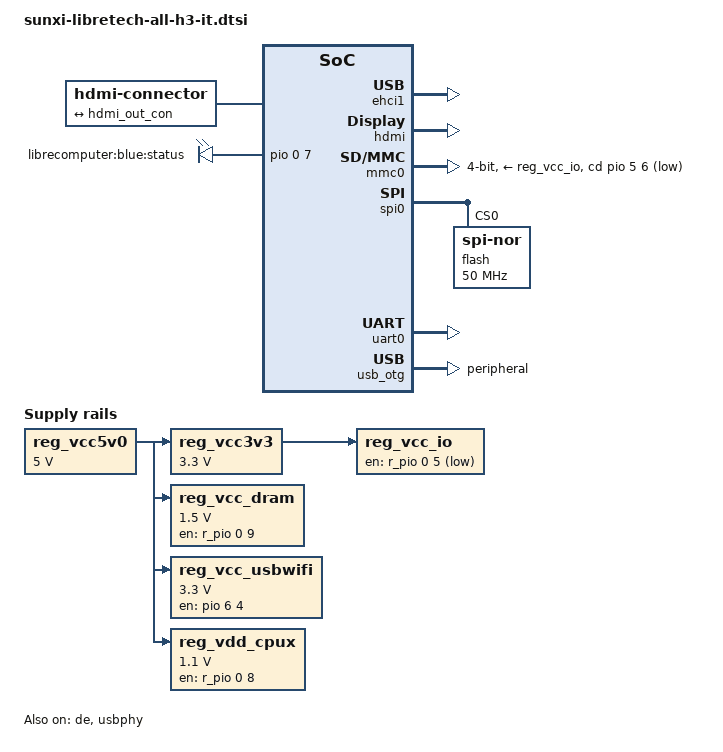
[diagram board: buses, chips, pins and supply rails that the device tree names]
// SPDX-License-Identifier: (GPL-2.0+ OR MIT)
// Copyright (C) 2019 Chen-Yu Tsai <wens@csie.org>

#include <dt-bindings/gpio/gpio.h>
#include <dt-bindings/input/input.h>

/ {
	aliases {
		serial0 = &uart0;
		spi0 = &spi0;
	};

	chosen {
		stdout-path = "serial0:115200n8";
	};

	connector {
		compatible = "hdmi-connector";
		type = "d";

		port {
			hdmi_con_in: endpoint {
				remote-endpoint = <&hdmi_out_con>;
			};
		};
	};

	leds {
		compatible = "gpio-leds";

		status_led {
			label = "librecomputer:blue:status";
			gpios = <&pio 0 7 GPIO_ACTIVE_HIGH>; /* PA7 */
		};
	};

	reg_vcc3v3: vcc3v3 {
		compatible = "regulator-fixed";
		regulator-name = "vcc3v3";
		regulator-min-microvolt = <3300000>;
		regulator-max-microvolt = <3300000>;
		regulator-always-on;
		regulator-boot-on;
		vin-supply = <&reg_vcc5v0>;
	};

	/* This represents the board's 5V input */
	reg_vcc5v0: vcc5v0 {
		compatible = "regulator-fixed";
		regulator-name = "vcc5v0";
		regulator-min-microvolt = <5000000>;
		regulator-max-microvolt = <5000000>;
		regulator-always-on;
		regulator-boot-on;
	};

	reg_vcc_dram: vcc-dram {
		compatible = "regulator-fixed";
		regulator-name = "vcc-dram";
		regulator-min-microvolt = <1500000>;
		regulator-max-microvolt = <1500000>;
		regulator-always-on;
		regulator-boot-on;
		vin-supply = <&reg_vcc5v0>;
		gpio = <&r_pio 0 9 GPIO_ACTIVE_HIGH>; /* PL9 */
		enable-active-high;
	};

	reg_vcc_io: vcc-io {
		compatible = "regulator-fixed";
		regulator-name = "vcc-io";
		/* This is simply a MOSFET switch */
		regulator-always-on;
		regulator-boot-on;
		vin-supply = <&reg_vcc3v3>;
		gpio = <&r_pio 0 5 GPIO_ACTIVE_LOW>; /* PL5 */
	};

	reg_vcc_usbwifi: vcc-usbwifi {
		compatible = "regulator-fixed";
		regulator-name = "vcc-usbwifi";
		regulator-min-microvolt = <3300000>;
		regulator-max-microvolt = <3300000>;
		vin-supply = <&reg_vcc5v0>;
		gpio = <&pio 6 4 GPIO_ACTIVE_HIGH>; /* PG4 */
		enable-active-high;
	};

	reg_vdd_cpux: vdd-cpux {
		compatible = "regulator-fixed";
		regulator-name = "vdd-cpux";
		regulator-min-microvolt = <1100000>;
		regulator-max-microvolt = <1100000>;
		regulator-always-on;
		regulator-boot-on;
		vin-supply = <&reg_vcc5v0>;
		gpio = <&r_pio 0 8 GPIO_ACTIVE_HIGH>; /* PL8 */
		enable-active-high;
	};
};

&cpu0 {
	cpu-supply = <&reg_vdd_cpux>;
};

&cpu1 {
	cpu-supply = <&reg_vdd_cpux>;
};

&cpu2 {
	cpu-supply = <&reg_vdd_cpux>;
};

&cpu3 {
	cpu-supply = <&reg_vdd_cpux>;
};

&de {
	status = "okay";
};

&ehci1 {
	status = "okay";
};

&hdmi {
	status = "okay";
};

&hdmi_out {
	hdmi_out_con: endpoint {
		remote-endpoint = <&hdmi_con_in>;
	};
};

&mmc0 {
	vmmc-supply = <&reg_vcc_io>;
	bus-width = <4>;
	cd-gpios = <&pio 5 6 GPIO_ACTIVE_LOW>; /* PF6 */
	status = "okay";
};

&pio {
	vcc-pa-supply = <&reg_vcc_io>;
	vcc-pc-supply = <&reg_vcc_io>;
	vcc-pd-supply = <&reg_vcc_io>;
	vcc-pe-supply = <&reg_vcc_io>;
	vcc-pf-supply = <&reg_vcc_io>;
	vcc-pg-supply = <&reg_vcc_io>;
};

&r_pio {
	vcc-pl-supply = <&reg_vcc3v3>;
};

&spi0 {
	status = "okay";

	flash@0 {
		compatible = "jedec,spi-nor";
		reg = <0>;
		spi-max-frequency = <50000000>;
	};
};

&uart0 {
	pinctrl-names = "default";
	pinctrl-0 = <&uart0_pa_pins>;
	status = "okay";
};

&usb_otg {
	dr_mode = "peripheral";
	status = "okay";
};

&usbphy {
	usb1_vbus-supply = <&reg_vcc_usbwifi>;
	status = "okay";
};
